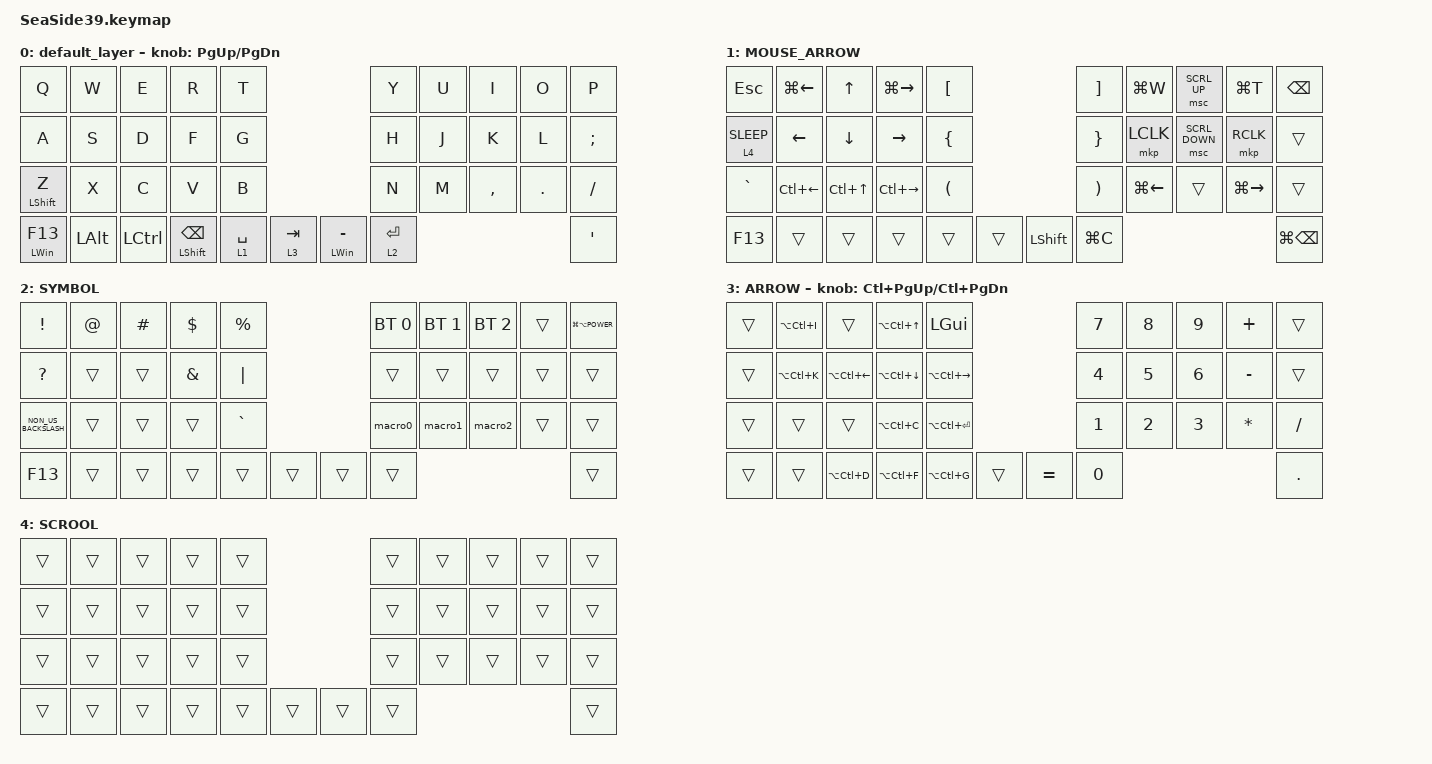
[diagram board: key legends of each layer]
#include <behaviors.dtsi>
#include <dt-bindings/zmk/bt.h>
#include <dt-bindings/zmk/keys.h>
#include <dt-bindings/zmk/pointing.h>

#define MOUSE 1
#define SCROLL 4
#define NUM 6

&mt {
    flavor = "balanced";
    quick-tap-ms = <300>;
};

&lt {
    flavor = "balanced";
    quick-tap-ms = <300>;
};

/ {
    combos {
        compatible = "zmk,combos";

        f13 {
            bindings = <&kp F13>;
            key-positions = <12 13>;
        };

        sleep {
            bindings = <&kp LA(LG(K_POWER))>;
            key-positions = <16 17>;
        };
    };

    macros {
        macro1: macro1 {
            compatible = "zmk,behavior-macro";
            #binding-cells = <0>;
            bindings = <&kp N1 &kp N1 &kp N1 &kp N1>;
            label = "MACRO1";
        };

        macro2: macro2 {
            compatible = "zmk,behavior-macro";
            #binding-cells = <0>;
            bindings = <&kp M &kp A &kp S &kp A &kp N1 &kp N9 &kp N8 &kp N0>;
            label = "MACRO2";
        };

        macro0: macro0 {
            compatible = "zmk,behavior-macro";
            #binding-cells = <0>;
            bindings = <&kp M &kp A &kp S &kp A &kp G &kp O &kp N &kp T &kp A &kp NUMBER_3>;
            label = "MACRO0";
        };
    };

    behaviors {
        ht: hold_tap {
            compatible = "zmk,behavior-hold-tap";
            #binding-cells = <2>;
            tapping-term-ms = <120>;
            flavor = "hold-preferred";
            bindings = <&kp>, <&kp>;
        };
    };

    keymap {
        compatible = "zmk,keymap";

        default_layer {
            bindings = <
&kp Q             &kp W         &kp E             &kp R                 &kp T                                           &kp Y        &kp U  &kp I      &kp O       &kp P
&kp A             &kp S         &kp D             &kp F                 &kp G                                           &kp H        &kp J  &kp K      &kp L       &kp SEMICOLON
&mt LEFT_SHIFT Z  &kp X         &kp C             &kp V                 &kp B                                           &kp N        &kp M  &kp COMMA  &kp PERIOD  &kp SLASH
&ht LWIN F13      &kp LEFT_ALT  &kp LEFT_CONTROL  &mt LSHIFT BACKSPACE  &lt 1 SPACE  &lt 3 TAB      &mt LEFT_WIN MINUS  &lt 2 ENTER                                &kp SQT
            >;

            sensor-bindings = <&inc_dec_kp PG_UP PAGE_DOWN>;
        };

        MOUSE_ARROW {
            bindings = <
&kp ESC        &kp LG(LEFT_ARROW)  &kp UP_ARROW      &kp LG(RIGHT_ARROW)  &kp LEFT_BRACKET                                  &kp RIGHT_BRACKET      &kp LG(W)           &msc SCRL_UP    &kp LG(T)            &kp BACKSPACE
&lt 4 K_SLEEP  &kp LEFT_ARROW      &kp DOWN_ARROW    &kp RIGHT_ARROW      &kp LEFT_BRACE                                    &kp RIGHT_BRACE        &mkp LCLK           &msc SCRL_DOWN  &mkp RCLK            &trans
&kp GRAVE      &kp LC(LEFT_ARROW)  &kp LC(UP_ARROW)  &kp LC(RIGHT_ARROW)  &kp LEFT_PARENTHESIS                              &kp RIGHT_PARENTHESIS  &kp LG(LEFT_ARROW)  &trans          &kp LG(RIGHT_ARROW)  &trans
&kp F13        &trans              &trans            &trans               &trans                &trans      &kp LEFT_SHIFT  &kp LG(C)                                                                       &kp LG(BACKSPACE)
            >;
        };

        SYMBOL {
            bindings = <
&kp EXCLAMATION       &kp AT_SIGN  &kp HASH  &kp DOLLAR     &kp PERCENT                      &bt BT_SEL 0  &bt BT_SEL 1  &bt BT_SEL 2  &trans  &kp LG(LA(C_POWER))
&kp QUESTION          &trans       &trans    &kp AMPERSAND  &kp PIPE                         &trans        &trans        &trans        &trans  &trans
&kp NON_US_BACKSLASH  &trans       &trans    &trans         &kp GRAVE                        &macro0       &macro1       &macro2       &trans  &trans
&kp F13               &trans       &trans    &trans         &trans       &trans      &trans  &trans                                            &trans
            >;
        };

        ARROW {
            bindings = <
&trans  &kp LA(LC(I))  &trans                  &kp LA(LC(UP_ARROW))    &kp LEFT_GUI                                    &kp N7  &kp N8  &kp N9  &kp PLUS      &trans
&trans  &kp LA(LC(K))  &kp LA(LC(LEFT_ARROW))  &kp LA(LC(DOWN_ARROW))  &kp LA(LC(RIGHT_ARROW))                         &kp N4  &kp N5  &kp N6  &kp MINUS     &trans
&trans  &trans         &trans                  &kp LA(LC(C))           &kp LA(LC(ENTER))                               &kp N1  &kp N2  &kp N3  &kp ASTERISK  &kp SLASH
&trans  &trans         &kp LA(LC(D))           &kp LA(LC(F))           &kp LA(LC(G))            &trans      &kp EQUAL  &kp N0                                &kp PERIOD
            >;

            sensor-bindings = <&inc_dec_kp LC(PAGE_UP) LC(PAGE_DOWN)>;
        };

        SCROOL {
            bindings = <
&trans  &trans  &trans  &trans  &trans                      &trans  &trans  &trans  &trans  &trans
&trans  &trans  &trans  &trans  &trans                      &trans  &trans  &trans  &trans  &trans
&trans  &trans  &trans  &trans  &trans                      &trans  &trans  &trans  &trans  &trans
&trans  &trans  &trans  &trans  &trans  &trans      &trans  &trans                          &trans
            >;
        };
    };
};
